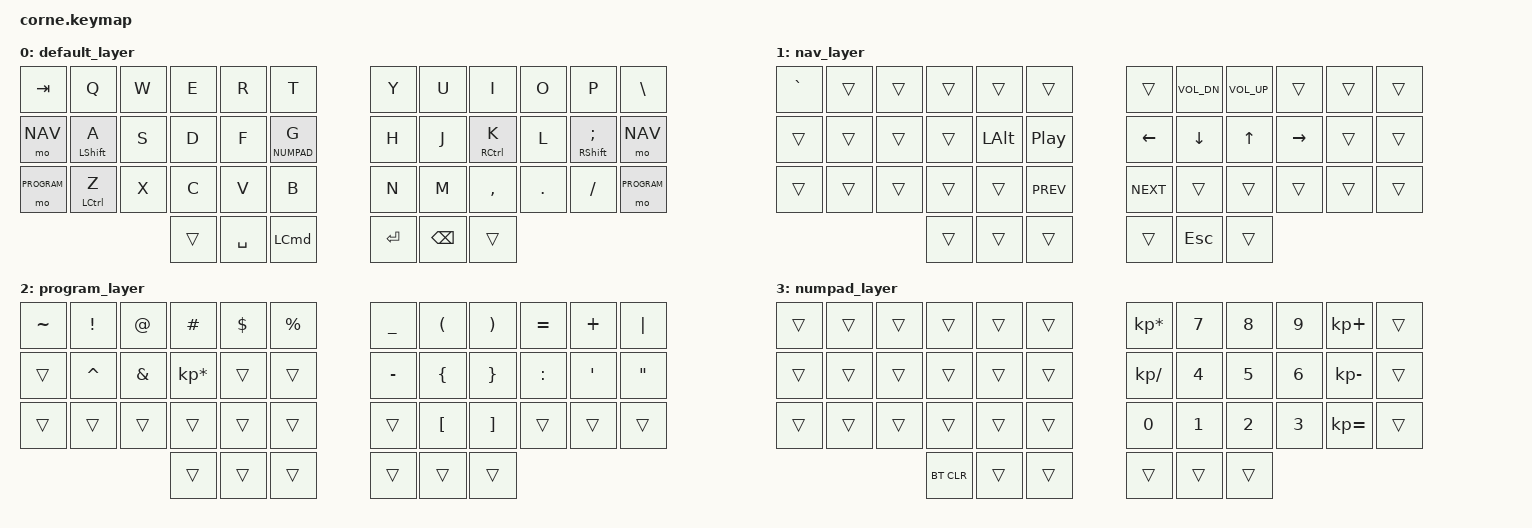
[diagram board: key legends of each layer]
/*
 * Copyright (c) 2020 The ZMK Contributors
 *
 * SPDX-License-Identifier: MIT
 */

#include <behaviors.dtsi>
#include <dt-bindings/zmk/bt.h>
#include <dt-bindings/zmk/keys.h>

#define DEFAULT 0
#define NAV 1
#define PROGRAM 2
#define NUMPAD 3

&mt {
    tapping-term-ms = <200>;
    flavor = "balanced";
};

/ {
    keymap {
        compatible = "zmk,keymap";

        default_layer {
            bindings = <
&kp TAB      &kp Q         &kp W  &kp E   &kp R      &kp T           &kp Y      &kp U     &kp I        &kp O    &kp P            &kp BSLH
&mo NAV      &mt LSHIFT A  &kp S  &kp D   &kp F      &lt NUMPAD G    &kp H      &kp J     &mt RCTRL K  &kp L    &mt RSHIFT SEMI  &mo NAV
&mo PROGRAM  &mt LCTRL Z   &kp X  &kp C   &kp V      &kp B           &kp N      &kp M     &kp COMMA    &kp DOT  &kp FSLH         &mo PROGRAM
                                  &trans  &kp SPACE  &kp LCMD        &kp ENTER  &kp BSPC  &trans
            >;
        };

        nav_layer {
            bindings = <
&kp GRAVE  &trans  &trans  &trans  &trans        &trans        &trans      &kp C_VOL_DN  &kp C_VOL_UP  &trans     &trans  &trans
&trans     &trans  &trans  &trans  &kp LEFT_ALT  &kp C_PP      &kp LEFT    &kp DOWN      &kp UP        &kp RIGHT  &trans  &trans
&trans     &trans  &trans  &trans  &trans        &kp C_PREV    &kp C_NEXT  &trans        &trans        &trans     &trans  &trans
                           &trans  &trans        &trans        &trans      &kp ESC       &trans
            >;
        };

        program_layer {
            // -----------------------------------------------------------------------------------------
            // |  TAB |  !  |  @  |  #  |  $  |  %  |   |  ^  |  &  |  *  |  (  |  )  | BKSP |
            // | CTRL |     |     |     |     |     |   |  -  |  =  |  [  |  ]  |  \  |  `   |
            // | SHFT |     |     |     |     |     |   |  _  |  +  |  {  |  }  | "|" |  ~   |
            //                    | GUI |     | SPC |   | ENT |     | ALT |

            bindings = <
&kp TILDE  &kp EXCL   &kp AT    &kp HASH         &kp DLLR  &kp PRCNT    &kp UNDER  &kp LPAR  &kp RPAR  &kp EQUAL  &kp PLUS  &kp PIPE
&trans     &kp CARET  &kp AMPS  &kp KP_MULTIPLY  &trans    &trans       &kp MINUS  &kp LBRC  &kp RBRC  &kp COLON  &kp SQT   &kp DQT
&trans     &trans     &trans    &trans           &trans    &trans       &trans     &kp LBKT  &kp RBKT  &trans     &trans    &trans
                                &trans           &trans    &trans       &trans     &trans    &trans
            >;
        };

        numpad_layer {
            bindings = <
&trans  &trans  &trans  &trans      &trans  &trans    &kp KP_MULTIPLY  &kp N7  &kp N8  &kp N9  &kp KP_PLUS   &trans
&trans  &trans  &trans  &trans      &trans  &trans    &kp KP_DIVIDE    &kp N4  &kp N5  &kp N6  &kp KP_MINUS  &trans
&trans  &trans  &trans  &trans      &trans  &trans    &kp N0           &kp N1  &kp N2  &kp N3  &kp KP_EQUAL  &trans
                        &bt BT_CLR  &trans  &trans    &trans           &trans  &trans
            >;
        };
    };
};
